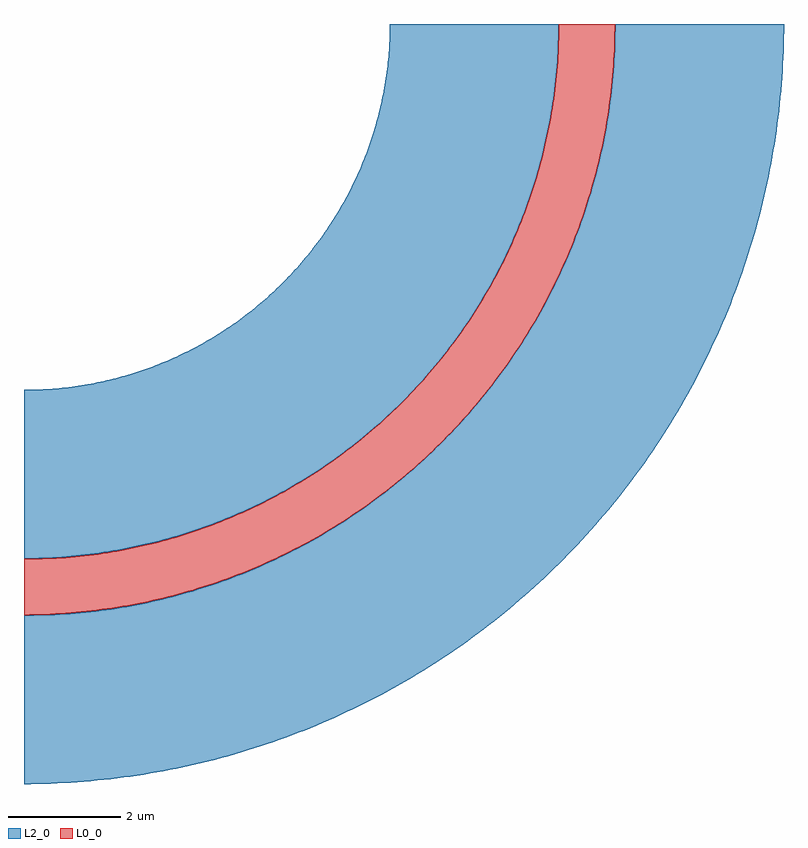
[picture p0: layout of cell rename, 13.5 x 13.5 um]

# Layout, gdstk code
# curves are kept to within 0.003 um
import gdstk
lib = gdstk.Library(unit=1e-6, precision=1e-09)
def P(c, l, *ps):  # polygons
    for p in ps: c.add(gdstk.Polygon(p, *l))
L0_0 = (0, 0)
L2_0 = (2, 0)

rename = lib.new_cell('rename')
P(rename, L0_0, [(0.092,-0.5),(0.368,-0.494),(0.645,-0.48),(0.92,-0.46),(1.195,-0.432),(1.652,-0.369),(1.833,-0.339),(2.195,-0.268),(2.643,-0.162),(2.91,-0.089),(3.174,-0.009),(3.437,0.078),(3.697,0.172),(3.954,0.273),(4.209,0.38),(4.544,0.534),(4.792,0.657),(5.036,0.786),(5.277,0.922),(5.514,1.064),(5.747,1.212),(6.202,1.527),(6.422,1.693),(6.639,1.865),(6.851,2.043),(7.058,2.226),(7.26,2.414),(7.457,2.608),(7.796,2.966),(6.386,2.966),(6.135,2.746),(6.007,2.64),(5.811,2.484),(5.611,2.334),(5.2,2.049),(4.989,1.915),(4.702,1.745),(4.483,1.624),(4.261,1.509),(3.884,1.33),(3.655,1.231),(3.423,1.138),(3.267,1.079),(2.952,0.97),(2.553,0.849),(2.23,0.765),(1.823,0.676),(1.494,0.618),(1.081,0.562),(0.666,0.523),(0.25,0.503),(0,0.5),(0,-0.5)],
  [(7.836,3.011),(8.135,3.361),(8.307,3.578),(8.473,3.798),(8.737,4.176),(8.984,4.565),(9.214,4.964),(9.426,5.373),(9.62,5.791),(9.727,6.046),(9.828,6.303),(9.922,6.563),(10.009,6.826),(10.114,7.179),(10.228,7.625),(10.287,7.895),(10.339,8.167),(10.397,8.531),(10.432,8.805),(10.46,9.08),(10.49,9.539),(10.5,10),(9.5,10),(9.491,9.583),(9.477,9.334),(9.456,9.084),(9.418,8.753),(9.382,8.506),(9.324,8.177),(9.29,8.014),(9.235,7.77),(9.173,7.528),(9.03,7.048),(8.977,6.89),(8.862,6.577),(8.769,6.345),(8.67,6.116),(8.491,5.739),(8.376,5.517),(8.255,5.298),(8.085,5.011),(7.951,4.8),(7.666,4.389),(7.413,4.058),(7.254,3.865),(7.09,3.676),(6.921,3.492),(6.747,3.312),(6.569,3.137),(6.386,2.966),(7.796,2.966)])
P(rename, L2_0, [(0.118,-3.5),(0.474,-3.492),(0.829,-3.475),(1.301,-3.437),(1.654,-3.398),(2.006,-3.35),(2.357,-3.293),(2.822,-3.202),(3.169,-3.123),(3.627,-3.004),(3.968,-2.904),(4.307,-2.795),(4.642,-2.677),(4.974,-2.55),(5.303,-2.415),(5.628,-2.271),(5.949,-2.119),(6.266,-1.958),(6.682,-1.731),(6.988,-1.551),(7.29,-1.363),(7.586,-1.167),(7.878,-0.963),(8.163,-0.752),(8.536,-0.459),(8.808,-0.231),(9.162,0.085),(9.419,0.329),(9.671,0.581),(9.915,0.838),(10.231,1.192),(10.534,1.556),(10.68,1.743),(6.486,1.743),(6.127,1.473),(5.747,1.212),(5.435,1.016),(5.036,0.786),(4.627,0.574),(4.209,0.38),(3.783,0.205),(3.437,0.078),(2.998,-0.063),(2.643,-0.162),(2.195,-0.268),(1.833,-0.339),(1.469,-0.397),(1.195,-0.432),(0.92,-0.46),(0.461,-0.49),(0,-0.5),(0,-3.5)],
  [(10.752,1.837),(10.894,2.027),(11.1,2.316),(11.363,2.71),(11.551,3.012),(11.672,3.216),(11.958,3.734),(12.119,4.051),(12.221,4.265),(12.415,4.697),(12.636,5.247),(12.795,5.693),(12.938,6.145),(13.004,6.373),(13.095,6.716),(13.226,7.294),(13.293,7.643),(13.332,7.876),(13.412,8.463),(13.458,8.935),(13.475,9.171),(13.492,9.526),(13.5,10),(10.5,10),(10.494,9.632),(10.48,9.355),(10.46,9.08),(10.432,8.805),(10.397,8.531),(10.339,8.167),(10.287,7.895),(10.228,7.625),(10.162,7.357),(10.089,7.09),(10.009,6.826),(9.922,6.563),(9.828,6.303),(9.692,5.961),(9.62,5.791),(9.426,5.373),(9.301,5.127),(9.124,4.803),(8.984,4.565),(8.838,4.33),(8.633,4.024),(8.473,3.798),(8.307,3.578),(8.135,3.361),(7.957,3.149),(7.712,2.874),(7.522,2.674),(7.326,2.478),(7.126,2.288),(6.92,2.103),(6.639,1.865),(6.486,1.743),(10.68,1.743)],
  [(0.083,0.5),(0.417,0.509),(0.666,0.523),(0.916,0.544),(1.247,0.582),(1.494,0.618),(1.823,0.676),(2.311,0.785),(2.633,0.872),(2.952,0.97),(3.11,1.023),(3.423,1.138),(3.655,1.231),(3.884,1.33),(4.186,1.472),(4.483,1.624),(4.702,1.745),(4.989,1.915),(5.2,2.049),(5.407,2.189),(5.611,2.334),(5.811,2.484),(6.135,2.746),(6.324,2.91),(6.508,3.079),(6.688,3.253),(6.921,3.492),(7.09,3.676),(7.254,3.865),(7.516,4.189),(7.666,4.389),(7.854,4.656),(3.7,4.656),(3.462,4.498),(3.316,4.409),(3.067,4.269),(2.813,4.14),(2.606,4.045),(2.395,3.957),(2.128,3.858),(1.911,3.787),(1.636,3.709),(1.47,3.668),(1.191,3.61),(0.966,3.572),(0.74,3.542),(0.513,3.52),(0.285,3.506),(0,3.5),(0,0.5)],
  [(7.858,4.662),(8.085,5.011),(8.255,5.298),(8.376,5.517),(8.528,5.814),(8.67,6.116),(8.832,6.5),(8.977,6.89),(9.08,7.207),(9.173,7.528),(9.254,7.851),(9.324,8.177),(9.407,8.671),(9.456,9.084),(9.477,9.334),(9.497,9.75),(9.5,10),(6.5,10),(6.498,9.829),(6.488,9.601),(6.458,9.26),(6.41,8.921),(6.332,8.53),(6.291,8.364),(6.213,8.089),(6.104,7.765),(6.043,7.605),(5.955,7.394),(5.86,7.187),(5.784,7.034),(5.591,6.684),(5.502,6.538),(5.377,6.347),(5.279,6.207),(5.142,6.024),(5,5.846),(4.889,5.716),(4.616,5.424),(4.327,5.149),(4.154,5),(4.021,4.893),(3.7,4.656),(7.854,4.656)])

lib.write_gds('rename.gds')
